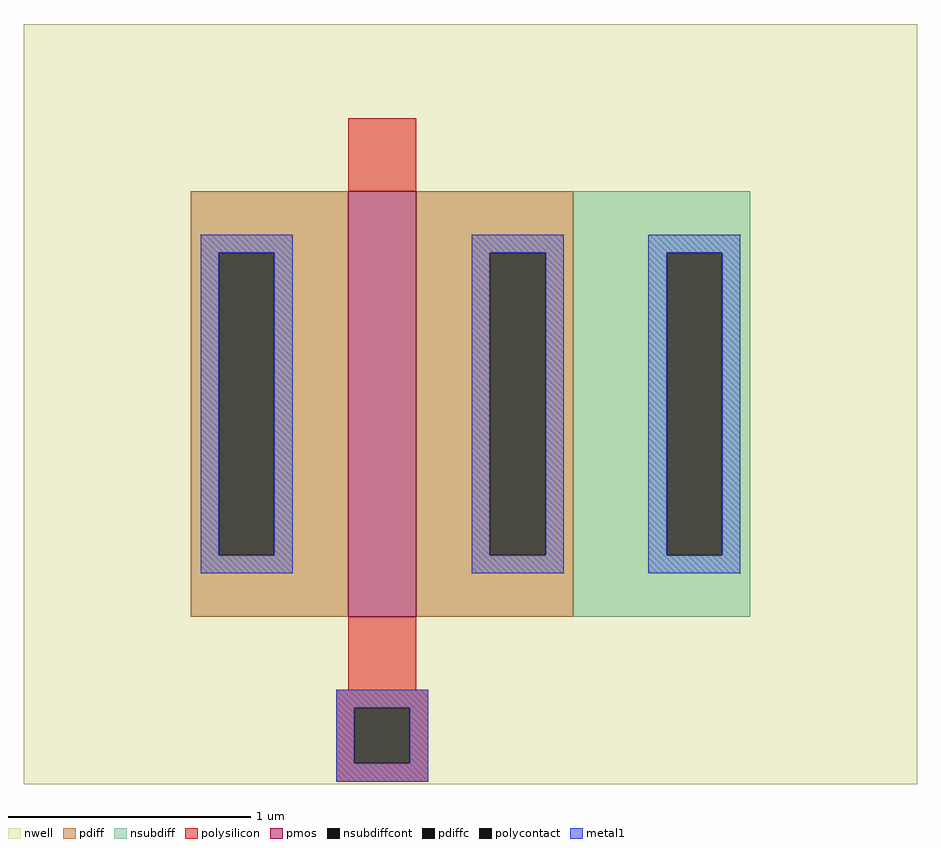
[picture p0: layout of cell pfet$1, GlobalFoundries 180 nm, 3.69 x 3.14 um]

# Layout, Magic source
magic
tech gf180mcuD
magscale 1 10
<< nwell >>
rect -230 -138 508 490
<< pmos >>
rect 38 0 94 352
<< pdiff >>
rect -92 301 38 352
rect -92 51 -69 301
rect -23 51 38 301
rect -92 0 38 51
rect 94 301 224 352
rect 94 51 155 301
rect 201 51 224 301
rect 94 0 224 51
<< pdiffc >>
rect -69 51 -23 301
rect 155 51 201 301
<< nsubdiff >>
rect 224 301 370 352
rect 224 51 301 301
rect 347 51 370 301
rect 224 0 370 51
<< nsubdiffcont >>
rect 301 51 347 301
<< polysilicon >>
rect 38 352 94 412
rect 38 -60 94 0
rect 28 -75 104 -60
rect 28 -121 43 -75
rect 89 -121 104 -75
rect 28 -136 104 -121
<< polycontact >>
rect 43 -121 89 -75
<< metal1 >>
rect -84 301 -8 316
rect -84 51 -69 301
rect -23 51 -8 301
rect -84 36 -8 51
rect 140 301 216 316
rect 140 51 155 301
rect 201 51 216 301
rect 140 36 216 51
rect 286 301 362 316
rect 286 51 301 301
rect 347 51 362 301
rect 286 36 362 51
rect 28 -75 104 -60
rect 28 -121 43 -75
rect 89 -121 104 -75
rect 28 -136 104 -121
<< end >>
